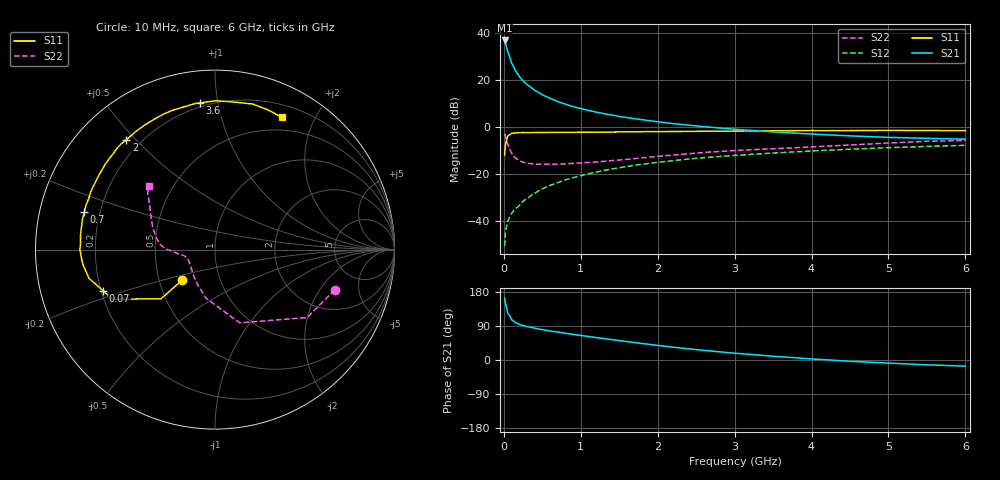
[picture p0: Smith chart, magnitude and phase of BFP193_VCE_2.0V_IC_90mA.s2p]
! Infineon Technologies  Discrete & RF Semiconductors
! BFP193
! VCE =  2.0 V,  IC =  90 mA
! Common Emitter S-Parameters:  Jan 2017
# GHz  S  MA  R  50
!  f  S11  S21  S12  S22
! GHz  MAG  ANG  MAG  ANG  MAG  ANG  MAG  ANG
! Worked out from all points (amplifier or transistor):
!   77 points, 10 MHz to 6 GHz, reference 50 ohm
!   highest |S21| = 36.7 dB at 10 MHz (marker M1)
!   |S21| within 3 dB of that: start of sweep to 36.63 MHz
!   unconditionally stable (mu >= 1): start of sweep to 12.05 MHz; 191.2 MHz to 3.405 GHz; 5.567 GHz to end of sweep
!   at 130 MHz: K = 0.86, MSG = 30.5 dB, |S12| = -35.7 dB
!   at 2.2 GHz: K = 1.05, MAG = 6.5 dB, |S12| = -14.4 dB
!   at 6 GHz: K = 1.01, MAG = 0.6 dB, |S12| = -7.9 dB
!   S11 on the Smith chart (normalised r, x): 10 MHz: 0.66, -0.24; 70 MHz: 0.21, -0.17; 700 MHz: 0.14, +0.14; 2 GHz: 0.15, +0.47; 3.6 GHz: 0.18, +0.89; 6 GHz: 0.34, +1.57
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0.01  0.2503 -137.0  68.1 163.6  0.0029 71.2  0.7039 -18.6
0.02  0.4069 -137.7  61.72 149.5  0.0055 68.9  0.6378 -36.4
0.05  0.6331 -154.1  39.69 123.1  0.0096 52.1  0.4306 -71.4
0.07  0.6639 -159.8  32.61 118.5  0.0115 55.7  0.3586 -80.0
0.1  0.7209 -167.3  22.68 106.3  0.0143 59.4  0.2752 -100.5
0.15  0.741 -173.7  15.55 99.0  0.0179 62.8  0.2165 -116.9
0.2  0.7475 -177.3  11.77 94.3  0.0211 65.0  0.1905 -128.0
0.25  0.7527 179.8  9.464 90.8  0.026 67.4  0.1765 -135.6
0.3  0.7499 177.6  7.9 88.3  0.0298 69.0  0.1681 -142.1
0.4  0.7537 173.6  5.967 83.8  0.0387 70.7  0.1609 -149.7
0.5  0.7546 170.0  4.78 80.1  0.0478 71.0  0.1595 -155.1
0.7  0.7573 164.1  3.437 73.8  0.0648 71.1  0.1597 -161.8
0.9  0.7587 158.3  2.684 67.7  0.0826 69.4  0.1667 -165.2
1.1  0.7647 152.8  2.222 62.1  0.1004 67.2  0.1739 -168.2
1.5  0.7749 142.0  1.658 51.2  0.1345 62.0  0.1965 -172.9
2  0.7861 128.9  1.276 38.5  0.1751 55.4  0.2334 -176.8
2.1  0.7885 126.3  1.221 36.3  0.1825 53.9  0.2418 -177.9
3.1  0.8119 104.8  0.861 16.4  0.2516 40.1  0.3174 172.2
3.6  0.822 95.9  0.761 8.5  0.2819 33.9  0.3464 165.4
4.1  0.8283 88.0  0.687 1.6  0.3107 27.7  0.3793 157.5
5.1  0.8358 74.2  0.589 -9.1  0.3628 15.5  0.4584 143.4
6  0.8256 63.2  0.543 -16.4  0.4027 5.2  0.5113 135.9
